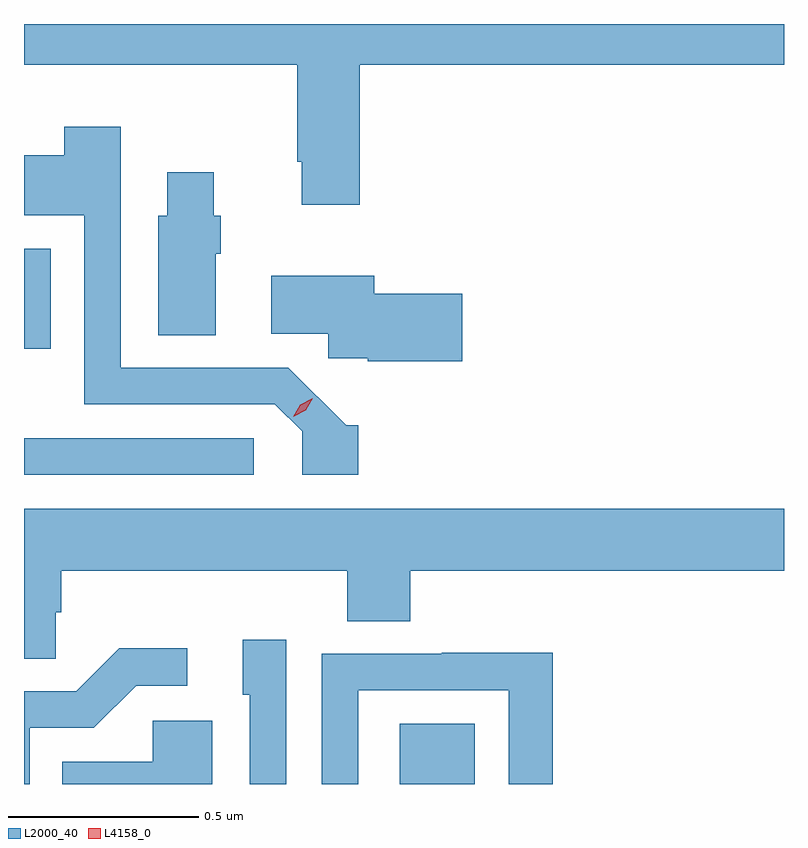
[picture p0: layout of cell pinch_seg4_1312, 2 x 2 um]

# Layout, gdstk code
import gdstk
lib = gdstk.Library(unit=1e-6, precision=1e-09)
def R(c, l, rs):  # rectangles x0, y0, x1, y1
    for r in rs: c.add(gdstk.rectangle(r[:2], r[2:], *l))
def P(c, l, *ps):  # polygons
    for p in ps: c.add(gdstk.Polygon(p, *l))
L2000_40 = (2000, 40)
L4158_0 = (4158, 0)

pinch_seg4_1312 = lib.new_cell('pinch_seg4_1312')
R(pinch_seg4_1312, L2000_40, [(378.449,773.615,378.646,773.773), (377.46,774.429,378.064,774.525), (377.46,774.761,377.53,775.024)])
P(pinch_seg4_1312, L2000_40, [(378.344,775.508),(379.46,775.508),(379.46,775.615),(377.46,775.615),(377.46,775.508),(378.179,775.508),(378.179,775.252),(378.191,775.252),(378.191,775.14),(378.344,775.14)],
  [(378.34,774.559),(378.308,774.559),(378.156,774.711),(377.715,774.711),(377.715,775.345),(377.566,775.345),(377.566,775.27),(377.46,775.27),(377.46,775.112),(377.619,775.112),(377.619,774.615),(378.12,774.615),(378.192,774.543),(378.192,774.429),(378.34,774.429)],
  [(377.965,775.01),(377.978,775.01),(377.978,775.11),(377.959,775.11),(377.959,775.225),(377.837,775.225),(377.837,775.11),(377.813,775.11),(377.813,774.796),(377.965,774.796)],
  [(378.613,774.905),(378.382,774.905),(378.382,774.952),(378.111,774.952),(378.111,774.8),(378.261,774.8),(378.261,774.735),(378.364,774.735),(378.364,774.727),(378.613,774.727)],
  [(377.544,774.067),(377.558,774.067),(377.558,774.176),(378.311,774.176),(378.311,774.043),(378.476,774.043),(378.476,774.176),(379.46,774.176),(379.46,774.34),(377.46,774.34),(377.46,773.944),(377.544,773.944)],
  [(378.15,773.995),(378.035,773.995),(378.035,773.85),(378.054,773.85),(378.054,773.615),(378.15,773.615)],
  [(377.475,773.763),(377.644,773.763),(377.755,773.874),(377.89,773.874),(377.89,773.972),(377.711,773.972),(377.598,773.859),(377.46,773.859),(377.46,773.615),(377.475,773.615)],
  [(378.339,773.862),(378.735,773.862),(378.735,773.615),(378.851,773.615),(378.851,773.96),(378.559,773.96),(378.559,773.958),(378.243,773.958),(378.243,773.615),(378.339,773.615)],
  [(377.956,773.782),(377.799,773.782),(377.799,773.674),(377.56,773.674),(377.56,773.615),(377.956,773.615)])
P(pinch_seg4_1312, L4158_0, [(378.168,774.581),(378.168,774.581),(378.187,774.613),(378.22,774.63),(378.22,774.63),(378.22,774.63),(378.201,774.598),(378.168,774.581)])

lib.write_gds('pinch_seg4_1312.gds')
